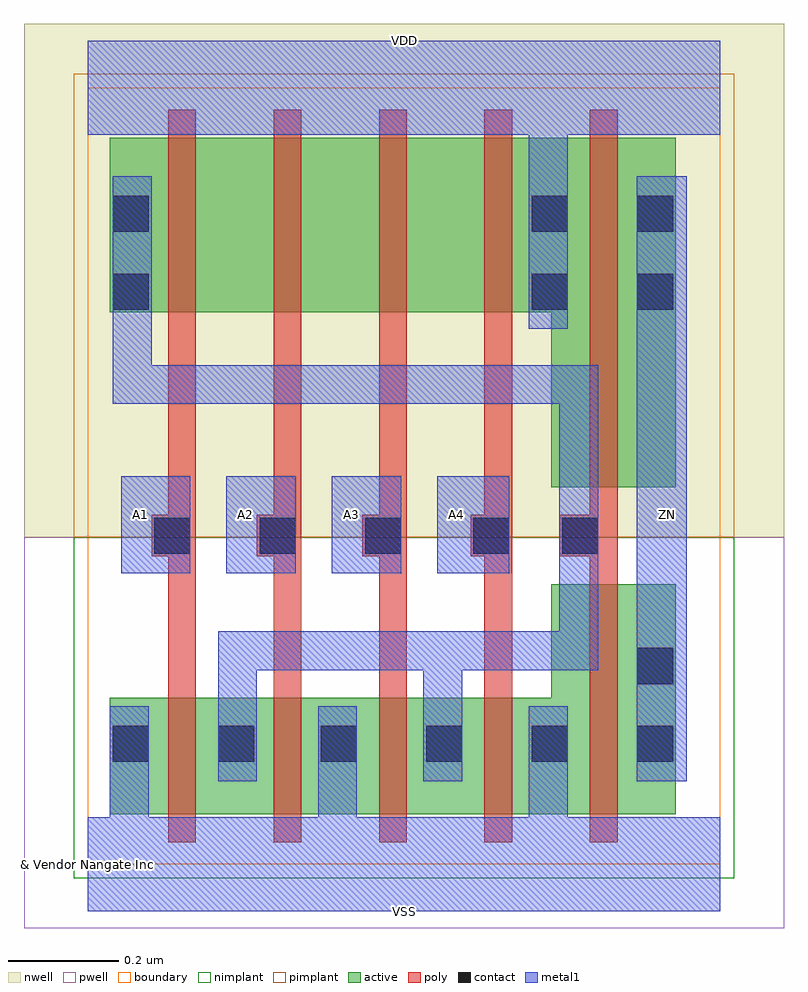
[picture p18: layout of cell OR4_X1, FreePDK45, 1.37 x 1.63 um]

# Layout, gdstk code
import gdstk
lib = gdstk.Library(unit=1e-6, precision=1e-09)
def R(c, l, rs):  # rectangles x0, y0, x1, y1
    for r in rs: c.add(gdstk.rectangle(r[:2], r[2:], *l))
def A(c, l, x, y, w, h, nx, ny, dx, dy):  # array of equal rectangles
    R(c, l, [(x+i*dx, y+j*dy, x+i*dx+w, y+j*dy+h) for i in range(nx) for j in range(ny)])
def P(c, l, *ps):  # polygons
    for p in ps: c.add(gdstk.Polygon(p, *l))
active = (1, 0)
pwell = (2, 0)
nwell = (3, 0)
nimplant = (4, 0)
pimplant = (5, 0)
poly = (9, 0)
contact = (10, 0)
metal1 = (11, 0)
boundary = (235, 0)

or4_x1 = lib.new_cell('OR4_X1')
P(or4_x1, active, [(0.04,0.09),(1.06,0.09),(1.06,0.505),(0.835,0.505),(0.835,0.3),(0.04,0.3)],
  [(0.04,0.995),(0.835,0.995),(0.835,0.68),(1.06,0.68),(1.06,1.31),(0.04,1.31)])
R(or4_x1, pwell, [(-0.115,-0.115,1.255,0.59)])
R(or4_x1, nwell, [(-0.115,0.59,1.255,1.515)])
R(or4_x1, nimplant, [(-0.025,-0.025,1.165,0.59)])
R(or4_x1, pimplant, [(-0.025,0.59,1.165,1.425)])
P(or4_x1, poly, [(0.115,0.555),(0.145,0.555),(0.145,0.04),(0.195,0.04),(0.195,1.36),(0.145,1.36),(0.145,0.63),(0.115,0.63)],
  [(0.305,0.555),(0.335,0.555),(0.335,0.04),(0.385,0.04),(0.385,1.36),(0.335,1.36),(0.335,0.63),(0.305,0.63)],
  [(0.495,0.555),(0.525,0.555),(0.525,0.04),(0.575,0.04),(0.575,1.36),(0.525,1.36),(0.525,0.63),(0.495,0.63)],
  [(0.69,0.555),(0.715,0.555),(0.715,0.04),(0.765,0.04),(0.765,1.36),(0.715,1.36),(0.715,0.63),(0.69,0.63)],
  [(0.85,0.555),(0.905,0.555),(0.905,0.04),(0.955,0.04),(0.955,1.36),(0.905,1.36),(0.905,0.63),(0.85,0.63)])
A(or4_x1, contact, 0.42, 0.185, 0.065, 0.065, 4, 1, 0.19, 0)
A(or4_x1, contact, 0.12, 0.56, 0.065, 0.065, 3, 1, 0.19, 0)
R(or4_x1, contact, [(0.045,0.185,0.11,0.25), (0.235,0.185,0.3,0.25), (0.99,0.325,1.055,0.39), (0.695,0.56,0.76,0.625), (0.855,0.56,0.92,0.625), (0.045,1,0.11,1.065), (0.8,1,0.865,1.065), (0.99,1,1.055,1.065), (0.045,1.14,0.11,1.205), (0.8,1.14,0.865,1.205), (0.99,1.14,1.055,1.205)])
A(or4_x1, metal1, 0.06, 0.525, 0.125, 0.175, 3, 1, 0.19, 0)
R(or4_x1, metal1, [(0.99,0.15,1.08,1.24), (0.63,0.525,0.76,0.7)])
P(or4_x1, metal1, [(0.045,0.83),(0.85,0.83),(0.85,0.42),(0.235,0.42),(0.235,0.15),(0.305,0.15),(0.305,0.35),(0.605,0.35),(0.605,0.15),(0.675,0.15),(0.675,0.35),(0.92,0.35),(0.92,0.9),(0.115,0.9),(0.115,1.24),(0.045,1.24)],
  [(0,-0.085),(1.14,-0.085),(1.14,0.085),(0.865,0.085),(0.865,0.285),(0.795,0.285),(0.795,0.085),(0.485,0.085),(0.485,0.285),(0.415,0.285),(0.415,0.085),(0.11,0.085),(0.11,0.285),(0.04,0.285),(0.04,0.085),(0,0.085)],
  [(0,1.315),(0.795,1.315),(0.795,0.965),(0.865,0.965),(0.865,1.315),(1.14,1.315),(1.14,1.485),(0,1.485)])
R(or4_x1, boundary, [(0,0,1.14,1.4)])
or4_x1.add(gdstk.Label('A1', (0.095,0.63), layer=11, texttype=0))
or4_x1.add(gdstk.Label('A2', (0.285,0.63), layer=11, texttype=0))
or4_x1.add(gdstk.Label('A3', (0.475,0.63), layer=11, texttype=0))
or4_x1.add(gdstk.Label('A4', (0.665,0.63), layer=11, texttype=0))
or4_x1.add(gdstk.Label('VDD', (0.57,1.485), layer=11, texttype=0))
or4_x1.add(gdstk.Label('VSS', (0.57,-0.085), layer=11, texttype=0))
or4_x1.add(gdstk.Label('ZN', (1.045,0.63), layer=11, texttype=0))
or4_x1.add(gdstk.Label('& Vendor Nangate Inc', (0,0), layer=63, texttype=63))
or4_x1.add(gdstk.Label('& Product Open Cell Library', (0,0), layer=63, texttype=63))
or4_x1.add(gdstk.Label('& Version 2010_12', (0,0), layer=63, texttype=63))
or4_x1.add(gdstk.Label('& Instance OR4_X1', (0,0), layer=63, texttype=63))

lib.write_gds('OR4_X1.gds')
